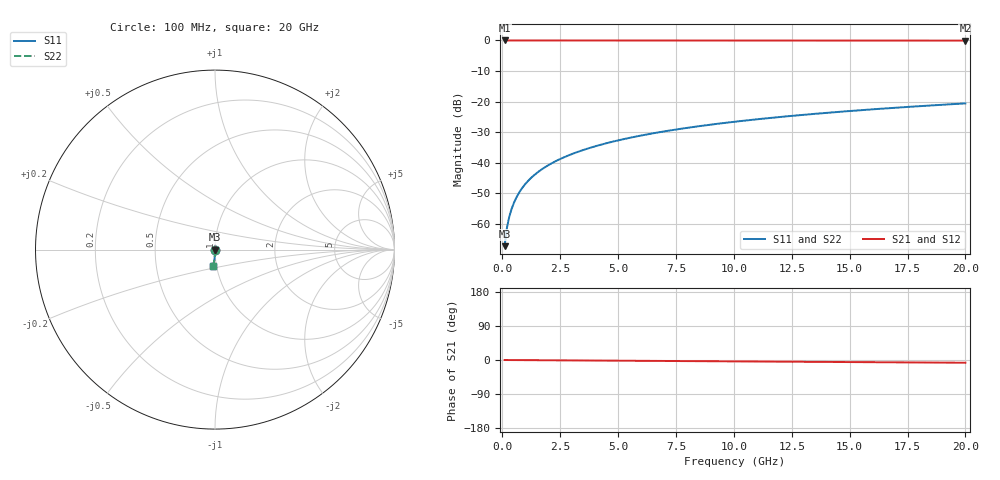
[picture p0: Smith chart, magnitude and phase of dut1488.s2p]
! Touchstone file exported from HFSS 2026.1.0
!  File:  C:/ffzhzh/LocalFiles/Ansys_Project_Files/temp_train_TSV_1488_1783198750_18472.aedt
!  Generated:  05:00:20 AM Jul  5, 2026
!  Design:  TSV
!  Project:  temp_train_TSV_1488_1783198750_18472
! Variables:
!  h_bsmrdl = 2um
!  h_ox = 20um
!  h_rdl = 5um
!  h_sub = 50.49um
!  h_tmrdl = 5um
!  h_tsv = 50.49um
!  h_via = 3um
!  l_bsmrdl = 300um
!  l_sub = 428.64um
!  l_tmrdl = 200um
!  m_sub = 200um
!  pitch = 32.34um
!  r_tsv = 14.32um
!  s_tmrdl = 10um
!  w_bsmrdl = 18um
!  w_sub = 500um
!  w_tmrdl = 12um
!  x_tsv_center1 = 206um
!  x_tsv_center2 = 524um
!  x_tsv_center3 = 736um
!  x_tsv_center4 = 1054um
!  x_tsv_center5 = 1266um
!  x_tsv_center6 = 1584um
# GHz S MA R 50.000000
! Terminal data exported
! Port[1] = TSV1_1_T1
! Port[2] = TSV1_1_T2
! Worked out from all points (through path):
!   200 points, 100 MHz to 20 GHz, reference 50 ohm
!   highest |S21| = 0.00 dB at 100 MHz (marker M1); lowest = 0.0 dB at 20 GHz (marker M2)
!   group delay of S21, straight-line fit = 1 ps
!   lowest |S11| = -67.2 dB at 100 MHz (marker M3), VSWR 1.00, Z = 50 - j0.043 ohm
!   |S11| at or under -10 dB: start of sweep to end of sweep
!   |S22| runs from -67.2 to -20.6 dB; largest |S21 - S12| = 2.1e-15
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0.1  0.000435 -81.1  0.9999 -0.0  0.9999 -0.0  0.000435 -81.1
! Gamma 0 0 0 0
! Port Impedance 50 0 50 0
0.2  0.0008676 -84.6  0.9999 -0.1  0.9999 -0.1  0.0008676 -84.6
0.3  0.001309 -85.6  0.9999 -0.1  0.9999 -0.1  0.001309 -85.6
0.4  0.001758 -86.0  0.9999 -0.2  0.9999 -0.2  0.001758 -86.0
0.5  0.002213 -86.3  0.9998 -0.2  0.9998 -0.2  0.002213 -86.3
0.7  0.003137 -86.8  0.9998 -0.3  0.9998 -0.3  0.003137 -86.8
0.8  0.003603 -87.0  0.9998 -0.3  0.9998 -0.3  0.003603 -87.0
1  0.004538 -87.4  0.9998 -0.4  0.9998 -0.4  0.004538 -87.4
1.2  0.005475 -87.8  0.9997 -0.4  0.9997 -0.4  0.005475 -87.8
1.4  0.006412 -88.1  0.9997 -0.5  0.9997 -0.5  0.006412 -88.1
1.7  0.007816 -88.5  0.9997 -0.6  0.9997 -0.6  0.007816 -88.5
2  0.00922 -88.8  0.9996 -0.7  0.9996 -0.7  0.00922 -88.8
2.7  0.0125 -89.4  0.9996 -1.0  0.9996 -1.0  0.0125 -89.4
3.5  0.01624 -89.9  0.9995 -1.3  0.9995 -1.3  0.01624 -89.9
4.2  0.01952 -90.2  0.9994 -1.5  0.9994 -1.5  0.01952 -90.2
5  0.02328 -90.6  0.9992 -1.8  0.9992 -1.8  0.02328 -90.6
6.8  0.03175 -91.4  0.9989 -2.5  0.9989 -2.5  0.03175 -91.4
8.3  0.03881 -92.1  0.9986 -3.0  0.9986 -3.0  0.03881 -92.1
10.1  0.04728 -92.8  0.9982 -3.7  0.9982 -3.7  0.04728 -92.8
13.4  0.06278 -94.1  0.9972 -4.9  0.9972 -4.9  0.06278 -94.1
16.7  0.07824 -95.4  0.996 -6.1  0.996 -6.1  0.07824 -95.4
20  0.09364 -96.6  0.9946 -7.2  0.9946 -7.2  0.09364 -96.6
